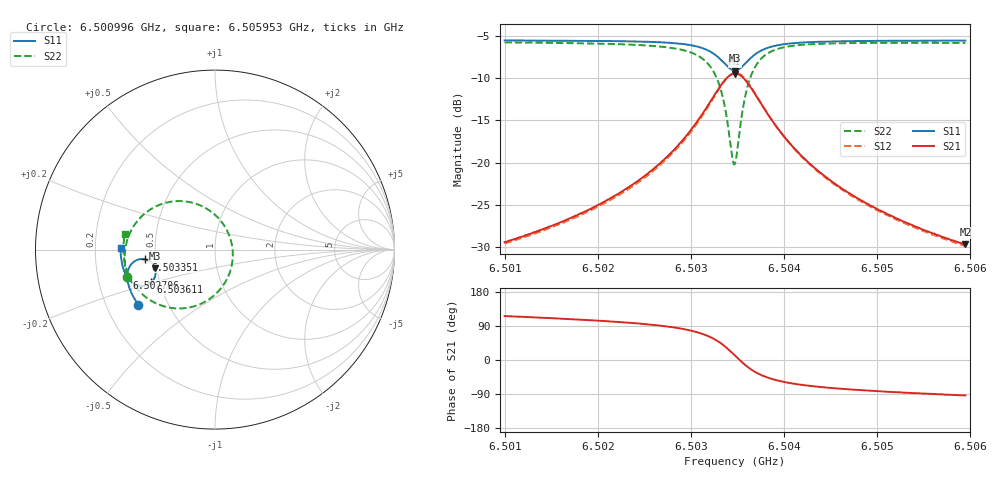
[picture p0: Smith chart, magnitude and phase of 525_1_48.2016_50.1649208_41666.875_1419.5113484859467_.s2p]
#  HZ  S  RI  R  50.00
! Rohde & Schwarz Vector Network Analyzer
! Rohde-Schwarz,ZNB20-2Port,1311601062101988,3.16
! Created: UTC 3/20/2024, 11:59:38 AM
! freq[Hz]  re:S11  im:S11  re:S21  im:S21  re:S12  im:S12  re:S22  im:S22
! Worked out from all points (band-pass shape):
!   401 points, 6.500996 GHz to 6.505953 GHz, reference 50 ohm
!   highest |S21| = -9.46 dB at 6.503475 GHz (marker M1); lowest = -29.6 dB at 6.505953 GHz (marker M2)
!   |S21| within 3 dB of the highest: 6.503228 GHz to 6.503723 GHz (494.9 kHz wide, 0.00761 % of centre)
!   lowest |S11| = -9.1 dB at 6.503475 GHz (marker M3), VSWR 2.08, Z = 24.5 - j5.86 ohm
!   |S11| at or under -10 dB: nowhere
!   |S22| runs from -20.2 to -5.8 dB; largest |S21 - S12| = 0.011
!   S11 on the Smith chart (normalised r, x): 6.500996 GHz: 0.34, -0.29; 6.502706 GHz: 0.33, -0.14; 6.503351 GHz: 0.44, -0.06; 6.503611 GHz: 0.45, -0.19; 6.505953 GHz: 0.31, +0.01
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6.5009958e9  -0.428 -0.3076  -0.0149 0.0306  -0.0134 0.0306  -0.4906 -0.1514
6.5018262e9  -0.4636 -0.2457  -0.0142 0.0485  -0.0118 0.0481  -0.5032 -0.0626
6.5022972e9  -0.48 -0.2037  -0.011 0.0691  -0.008 0.0679  -0.4994 0.00539
6.5026566e9  -0.4882 -0.1633  -0.00188 0.098  0.00158 0.0957  -0.4797 0.0787
6.5027062e9  -0.4886 -0.1567  0.000568 0.1037  0.00412 0.1012  -0.4744 0.0915
6.5029417e9  -0.4855 -0.1198  0.023 0.1404  0.0266 0.1362  -0.4274 0.1653
6.5031028e9  -0.4712 -0.0877  0.062 0.1762  0.0646 0.1706  -0.3518 0.2288
6.5032515e9  -0.434 -0.0578  0.1427 0.2051  0.1432 0.1992  -0.2046 0.2704
6.5033507e9  -0.3878 -0.0547  0.2334 0.189  0.2335 0.1849  -0.0476 0.2288
6.5034374e9  -0.3451 -0.083  0.3116 0.1155  0.314 0.1119  0.0772 0.0842
6.5034622e9  -0.3369 -0.0971  0.3251 0.0841  0.3284 0.0797  0.0945 0.0247
6.5034746e9  -0.334 -0.1049  0.3296 0.0673  0.3332 0.0623  0.0985 -0.00648
6.5034994e9  -0.331 -0.1212  0.3332 0.0327  0.3373 0.0267  0.0964 -0.0695
6.5035366e9  -0.3329 -0.145  0.3261 -0.0173  0.3298 -0.0254  0.0699 -0.1579
6.5036109e9  -0.3549 -0.182  0.2801 -0.0935  0.2804 -0.1043  -0.0388 -0.2808
6.5037225e9  -0.4003 -0.202  0.1935 -0.1388  0.189 -0.1484  -0.2137 -0.3277
6.5038836e9  -0.4474 -0.1927  0.1102 -0.1352  0.1034 -0.1403  -0.3642 -0.2799
6.5040571e9  -0.4753 -0.1713  0.0648 -0.1145  0.0589 -0.1168  -0.4375 -0.2137
6.504305e9  -0.4962 -0.1413  0.0344 -0.0896  0.0298 -0.0901  -0.4813 -0.1406
6.5046644e9  -0.5116 -0.1033  0.0156 -0.0666  0.0122 -0.0661  -0.5037 -0.0671
6.5051354e9  -0.5215 -0.0593  0.0051 -0.049  0.00292 -0.0483  -0.5103 0.000537
6.5059533e9  -0.5265 0.0102  -0.00205 -0.0329  -0.00333 -0.032  -0.5028 0.0879
